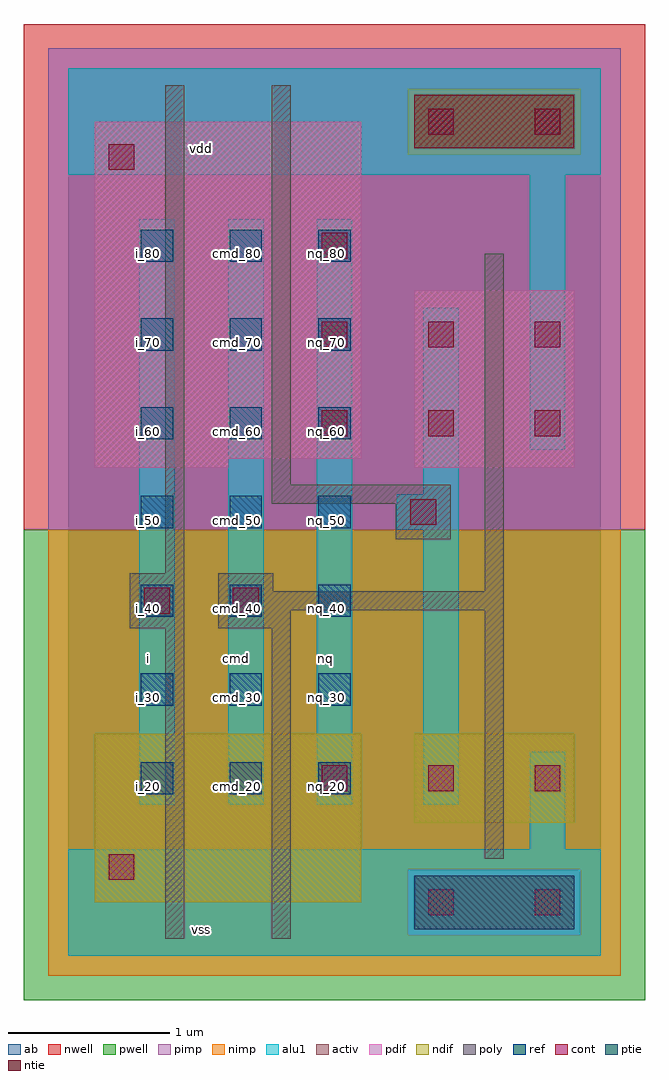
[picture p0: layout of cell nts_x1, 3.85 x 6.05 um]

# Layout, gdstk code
import gdstk
lib = gdstk.Library(unit=1e-6, precision=2.5e-09)
def R(c, l, rs):  # rectangles x0, y0, x1, y1
    for r in rs: c.add(gdstk.rectangle(r[:2], r[2:], *l))
def A(c, l, x, y, w, h, nx, ny, dx, dy):  # array of equal rectangles
    R(c, l, [(x+i*dx, y+j*dy, x+i*dx+w, y+j*dy+h) for i in range(nx) for j in range(ny)])
ndif = (3, 0)
pdif = (4, 0)
ntie = (5, 0)
ptie = (6, 0)
ref = (24, 0)
cont = (25, 0)
pwell = (41, 0)
nwell = (42, 0)
activ = (43, 0)
pimp = (44, 0)
nimp = (45, 0)
poly = (46, 0)
alu1 = (49, 0)
ab = (63, 0)

nts_x1 = lib.new_cell('nts_x1')
R(nts_x1, ndif, [(0.165,0.33,1.815,1.375), (2.145,0.825,3.135,1.375)])
R(nts_x1, pdif, [(0.165,3.025,0.99,3.08), (2.145,3.025,3.135,4.125), (0.165,3.08,1.815,5.17)])
R(nts_x1, ntie, [(2.145,5.005,3.135,5.335)])
R(nts_x1, ptie, [(2.145,0.165,3.135,0.495)])
A(nts_x1, ref, 0.45, 1, 0.2, 0.2, 3, 7, 0.55, 0.55)
A(nts_x1, cont, 1.57, 1.02, 0.16, 0.16, 3, 2, 0.66, 2.2)
A(nts_x1, cont, 1.57, 3.77, 0.16, 0.16, 3, 1, 0.66, 0)
R(nts_x1, cont, [(2.23,0.25,2.39,0.41), (2.89,0.25,3.05,0.41), (0.25,0.47,0.41,0.63), (0.47,2.12,0.63,2.28), (1.02,2.12,1.18,2.28), (2.12,2.67,2.28,2.83), (1.57,4.32,1.73,4.48), (0.25,4.87,0.41,5.03), (2.23,5.09,2.39,5.25), (2.89,5.09,3.05,5.25)])
R(nts_x1, pwell, [(-0.275,-0.275,3.575,2.64)])
R(nts_x1, nwell, [(-0.275,2.64,3.575,5.775)])
R(nts_x1, activ, [(2.145,0.165,3.135,0.495), (0.165,0.33,1.815,1.375), (2.145,0.825,3.135,1.375), (0.165,3.025,0.99,3.08), (2.145,3.025,3.135,4.125), (0.165,3.08,1.815,5.17), (2.145,5.005,3.135,5.335)])
R(nts_x1, pimp, [(2.105,0.125,3.175,0.535), (-0.125,2.64,3.425,4.965), (-0.125,4.965,2.105,5.375), (3.175,4.965,3.425,5.375), (-0.125,5.375,3.425,5.625)])
R(nts_x1, nimp, [(-0.125,-0.125,3.425,0.125), (-0.125,0.125,2.105,0.535), (3.175,0.125,3.425,0.535), (-0.125,0.535,3.425,2.64), (2.105,4.965,3.175,5.375)])
R(nts_x1, poly, [(0.6,0.105,0.72,2.03), (1.26,0.105,1.38,2.03), (2.58,0.6,2.7,2.14), (0.38,2.03,0.72,2.37), (0.93,2.03,1.38,2.14), (0.93,2.14,2.7,2.26), (0.93,2.26,1.27,2.37), (2.58,2.26,2.7,4.35), (0.6,2.37,0.72,5.395), (2.03,2.58,2.37,2.8), (1.26,2.8,2.37,2.92), (1.26,2.92,1.38,5.395)])
A(nts_x1, alu1, 0.44, 0.935, 0.22, 3.63, 3, 1, 0.55, 0)
R(nts_x1, alu1, [(0,0,3.3,0.66), (2.86,0.66,3.08,1.265), (2.2,0.935,2.42,2.64), (2.035,2.64,2.42,2.86), (2.2,2.86,2.42,4.015), (2.86,3.135,3.08,4.84), (0,4.84,3.3,5.5)])
R(nts_x1, ab, [(0,0,3.3,5.5)])
nts_x1.add(gdstk.Label('vss', (0.825,0.165), layer=49, texttype=0))
nts_x1.add(gdstk.Label('nq', (1.595,1.8425), layer=49, texttype=0))
nts_x1.add(gdstk.Label('cmd', (1.045,1.8425), layer=49, texttype=0))
nts_x1.add(gdstk.Label('i', (0.495,1.8425), layer=49, texttype=0))
nts_x1.add(gdstk.Label('vdd', (0.825,5.005), layer=49, texttype=0))
nts_x1.add(gdstk.Label('cmd_80', (1.05,4.35), layer=24, texttype=0))
nts_x1.add(gdstk.Label('cmd_70', (1.05,3.8), layer=24, texttype=0))
nts_x1.add(gdstk.Label('cmd_60', (1.05,3.25), layer=24, texttype=0))
nts_x1.add(gdstk.Label('cmd_50', (1.05,2.7), layer=24, texttype=0))
nts_x1.add(gdstk.Label('i_80', (0.5,4.35), layer=24, texttype=0))
nts_x1.add(gdstk.Label('nq_50', (1.6,2.7), layer=24, texttype=0))
nts_x1.add(gdstk.Label('i_50', (0.5,2.7), layer=24, texttype=0))
nts_x1.add(gdstk.Label('i_40', (0.5,2.15), layer=24, texttype=0))
nts_x1.add(gdstk.Label('i_30', (0.5,1.6), layer=24, texttype=0))
nts_x1.add(gdstk.Label('i_20', (0.5,1.05), layer=24, texttype=0))
nts_x1.add(gdstk.Label('cmd_40', (1.05,2.15), layer=24, texttype=0))
nts_x1.add(gdstk.Label('cmd_30', (1.05,1.6), layer=24, texttype=0))
nts_x1.add(gdstk.Label('cmd_20', (1.05,1.05), layer=24, texttype=0))
nts_x1.add(gdstk.Label('nq_20', (1.6,1.05), layer=24, texttype=0))
nts_x1.add(gdstk.Label('nq_80', (1.6,4.35), layer=24, texttype=0))
nts_x1.add(gdstk.Label('nq_70', (1.6,3.8), layer=24, texttype=0))
nts_x1.add(gdstk.Label('nq_60', (1.6,3.25), layer=24, texttype=0))
nts_x1.add(gdstk.Label('nq_40', (1.6,2.15), layer=24, texttype=0))
nts_x1.add(gdstk.Label('nq_30', (1.6,1.6), layer=24, texttype=0))
nts_x1.add(gdstk.Label('i_70', (0.5,3.8), layer=24, texttype=0))
nts_x1.add(gdstk.Label('i_60', (0.5,3.25), layer=24, texttype=0))

lib.write_gds('nts_x1.gds')
